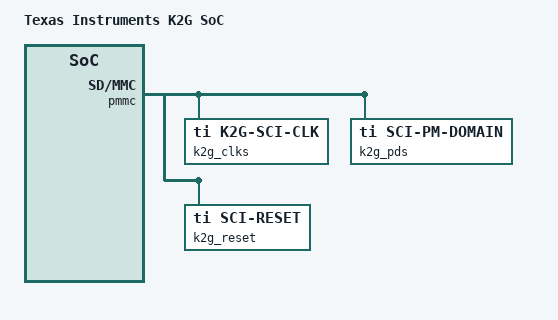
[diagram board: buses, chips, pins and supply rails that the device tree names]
/*
 * Device Tree Source for K2G SOC
 *
 * Copyright (C) 2016 Texas Instruments Incorporated - http://www.ti.com/
 *
 * This program is free software; you can redistribute it and/or modify
 * it under the terms of the GNU General Public License version 2 as
 * published by the Free Software Foundation.
 *
 * This program is distributed "as is" WITHOUT ANY WARRANTY of any
 * kind, whether express or implied; without even the implied warranty
 * of MERCHANTABILITY or FITNESS FOR A PARTICULAR PURPOSE.  See the
 * GNU General Public License for more details.
 */

#include <dt-bindings/interrupt-controller/arm-gic.h>
#include <dt-bindings/pinctrl/keystone.h>
#include <dt-bindings/genpd/k2g.h>
#include <dt-bindings/clock/k2g.h>
#include <dt-bindings/gpio/gpio.h>
#include <dt-bindings/reset/k2g.h>
#include "skeleton.dtsi"

/ {
	compatible = "ti,k2g","ti,keystone";
	model = "Texas Instruments K2G SoC";
	#address-cells = <2>;
	#size-cells = <2>;
	interrupt-parent = <&gic>;

	aliases {
		serial0 = &uart0;
	};

	cpus {
		#address-cells = <1>;
		#size-cells = <0>;

		cpu@0 {
			compatible = "arm,cortex-a15";
			device_type = "cpu";
			reg = <0>;
		};
	};

	gic: interrupt-controller@02561000 {
		compatible = "arm,cortex-a15-gic";
		#interrupt-cells = <3>;
		interrupt-controller;
		reg = <0x0 0x02561000 0x0 0x1000>,
		      <0x0 0x02562000 0x0 0x2000>,
		      <0x0 0x02564000 0x0 0x1000>,
		      <0x0 0x02566000 0x0 0x2000>;
		interrupts = <GIC_PPI 9 (GIC_CPU_MASK_SIMPLE(4) |
				IRQ_TYPE_LEVEL_HIGH)>;
	};

	timer {
		compatible = "arm,armv7-timer";
		interrupts =
			<GIC_PPI 13
				(GIC_CPU_MASK_SIMPLE(4) | IRQ_TYPE_LEVEL_LOW)>,
			<GIC_PPI 14
				(GIC_CPU_MASK_SIMPLE(4) | IRQ_TYPE_LEVEL_LOW)>,
			<GIC_PPI 11
				(GIC_CPU_MASK_SIMPLE(4) | IRQ_TYPE_LEVEL_LOW)>,
			<GIC_PPI 10
				(GIC_CPU_MASK_SIMPLE(4) | IRQ_TYPE_LEVEL_LOW)>;
	};

	pmu {
		compatible = "arm,cortex-a15-pmu";
		interrupts = <GIC_SPI 4 IRQ_TYPE_EDGE_RISING>;
	};

	soc {
		#address-cells = <1>;
		#size-cells = <1>;
		#pinctrl-cells = <1>;
		compatible = "ti,keystone","simple-bus";
		ranges = <0x0 0x0 0x0 0xc0000000>;
		dma-ranges = <0x80000000 0x8 0x00000000 0x80000000>;

		msm_ram: msmram@0c000000 {
			compatible = "mmio-sram";
			reg = <0x0c000000 0x100000>;
			ranges = <0x0 0x0c000000 0x100000>;
			#address-cells = <1>;
			#size-cells = <1>;

			sram-bm@f7000 {
				reg = <0x000f7000 0x8000>;
			};
		};

		k2g_pinctrl: pinmux@02621000 {
			compatible = "pinctrl-single";
			reg = <0x02621000 0x410>;
			pinctrl-single,register-width = <32>;
			pinctrl-single,function-mask = <0x001b0007>;
		};

		devctrl: device-state-control@02620000 {
			compatible = "ti,keystone-devctrl", "syscon";
			reg = <0x02620000 0x1000>;
		};

		uart0: serial@02530c00 {
			compatible = "ns16550a";
			current-speed = <115200>;
			reg-shift = <2>;
			reg-io-width = <4>;
			reg = <0x02530c00 0x100>;
			interrupts = <GIC_SPI 164 IRQ_TYPE_EDGE_RISING>;
			clock-frequency = <200000000>;
			status = "disabled";
		};

		kirq0: keystone_irq@026202a0 {
			compatible = "ti,keystone-irq";
			interrupts = <GIC_SPI 1 IRQ_TYPE_EDGE_RISING>;
			interrupt-controller;
			#interrupt-cells = <1>;
			ti,syscon-dev = <&devctrl 0x2a0>;
		};

		dspgpio0: keystone_dsp_gpio@02620240 {
			compatible = "ti,keystone-dsp-gpio";
			gpio-controller;
			#gpio-cells = <2>;
			gpio,syscon-dev = <&devctrl 0x240>;
		};

		clock_event: timer@2210000 {
			compatible = "ti,keystone-timer";
			reg = <0x02210000 0x50>;
			interrupts = <GIC_SPI 19 IRQ_TYPE_LEVEL_HIGH
					GIC_SPI 18 IRQ_TYPE_LEVEL_LOW>;
			clocks = <&k2g_clks K2G_DEV_TIMER64_1
					K2G_DEV_TIMER64_VBUS_CLK>;
		};

		gpio0: gpio@2603000 {
			compatible = "ti,k2g-gpio";
			reg = <0x02603000 0x100>;
			gpio-controller;
			#gpio-cells = <2>;
			interrupts = <GIC_SPI 432 IRQ_TYPE_EDGE_RISING>,
					<GIC_SPI 433 IRQ_TYPE_EDGE_RISING>,
					<GIC_SPI 434 IRQ_TYPE_EDGE_RISING>,
					<GIC_SPI 435 IRQ_TYPE_EDGE_RISING>,
					<GIC_SPI 436 IRQ_TYPE_EDGE_RISING>,
					<GIC_SPI 437 IRQ_TYPE_EDGE_RISING>,
					<GIC_SPI 438 IRQ_TYPE_EDGE_RISING>,
					<GIC_SPI 439 IRQ_TYPE_EDGE_RISING>,
					<GIC_SPI 440 IRQ_TYPE_EDGE_RISING>;
			interrupt-controller;
			#interrupt-cells = <2>;
			ti,ngpio = <144>;
			ti,davinci-gpio-unbanked = <0>;
			power-domains = <&k2g_pds>;
			ti,sci-id = <K2G_DEV_GPIO0>;
			clocks = <&k2g_clks K2G_DEV_GPIO0
					K2G_DEV_GPIO_VBUS_CLK>;
			clock-names = "fck";
		};

		gpio1: gpio@260a000 {
			compatible = "ti,k2g-gpio";
			reg = <0x0260a000 0x100>;
			gpio-controller;
			#gpio-cells = <2>;
			interrupts = <GIC_SPI 442 IRQ_TYPE_EDGE_RISING>,
					<GIC_SPI 443 IRQ_TYPE_EDGE_RISING>,
					<GIC_SPI 444 IRQ_TYPE_EDGE_RISING>,
					<GIC_SPI 445 IRQ_TYPE_EDGE_RISING>,
					<GIC_SPI 446 IRQ_TYPE_EDGE_RISING>;
			interrupt-controller;
			#interrupt-cells = <2>;
			ti,ngpio = <68>;
			ti,davinci-gpio-unbanked = <0>;
			power-domains = <&k2g_pds>;
			ti,sci-id = <K2G_DEV_GPIO1>;
			clocks = <&k2g_clks K2G_DEV_GPIO1
					K2G_DEV_GPIO_VBUS_CLK>;
			clock-names = "fck";
		};

		wdt: wdt@02250000 {
			compatible = "ti,keystone-wdt", "ti,davinci-wdt";
			reg = <0x02250000 0x80>;
			power-domains = <&k2g_pds>;
			ti,sci-id = <K2G_DEV_TIMER64_5>;
			clocks = <&k2g_clks K2G_DEV_TIMER64_5 0>;
		};

		msgmgr: msgmgr@02a00000 {
			compatible = "ti,k2g-message-manager";
			#mbox-cells = <2>;
			reg-names = "queue_proxy_region",
				    "queue_state_debug_region";
			reg = <0x02a00000 0x400000>, <0x028c3400 0x400>;
			interrupt-names = "rx_005",
					  "rx_057";
			interrupts = <GIC_SPI 324 IRQ_TYPE_LEVEL_HIGH>,
				     <GIC_SPI 327 IRQ_TYPE_LEVEL_HIGH>;
		};

		pmmc: pmmc {
			compatible = "ti,k2g-sci";
			/*
			 * In case of rare platforms that does not use k2g as
			 * system master, use /delete-property/
			 */
			ti,system-reboot-controller;
			mbox-names = "rx", "tx";
			mboxes= <&msgmgr 5 2>,
				<&msgmgr 0 0>;
			reg-names = "debug_messages";
			reg = <0x02921c00 0x400>;

			k2g_clks: k2g_clks {
				compatible = "ti,k2g-sci-clk";
				#clock-cells = <2>;
			};

			k2g_pds: k2g_pds {
				compatible = "ti,sci-pm-domain";
				#power-domain-cells = <0>;
			};

			k2g_reset: k2g_reset {
				compatible = "ti,sci-reset";
				#reset-cells = <2>;
			};
		};

		ddr3edac: edac@21010000 {
			compatible = "ti,keystone-ddr3-mc-edac";
			reg = <0x21010000 0x200>;
			interrupts = <GIC_SPI 123 IRQ_TYPE_EDGE_RISING>;
			status = "disabled";
		};
	};
};
